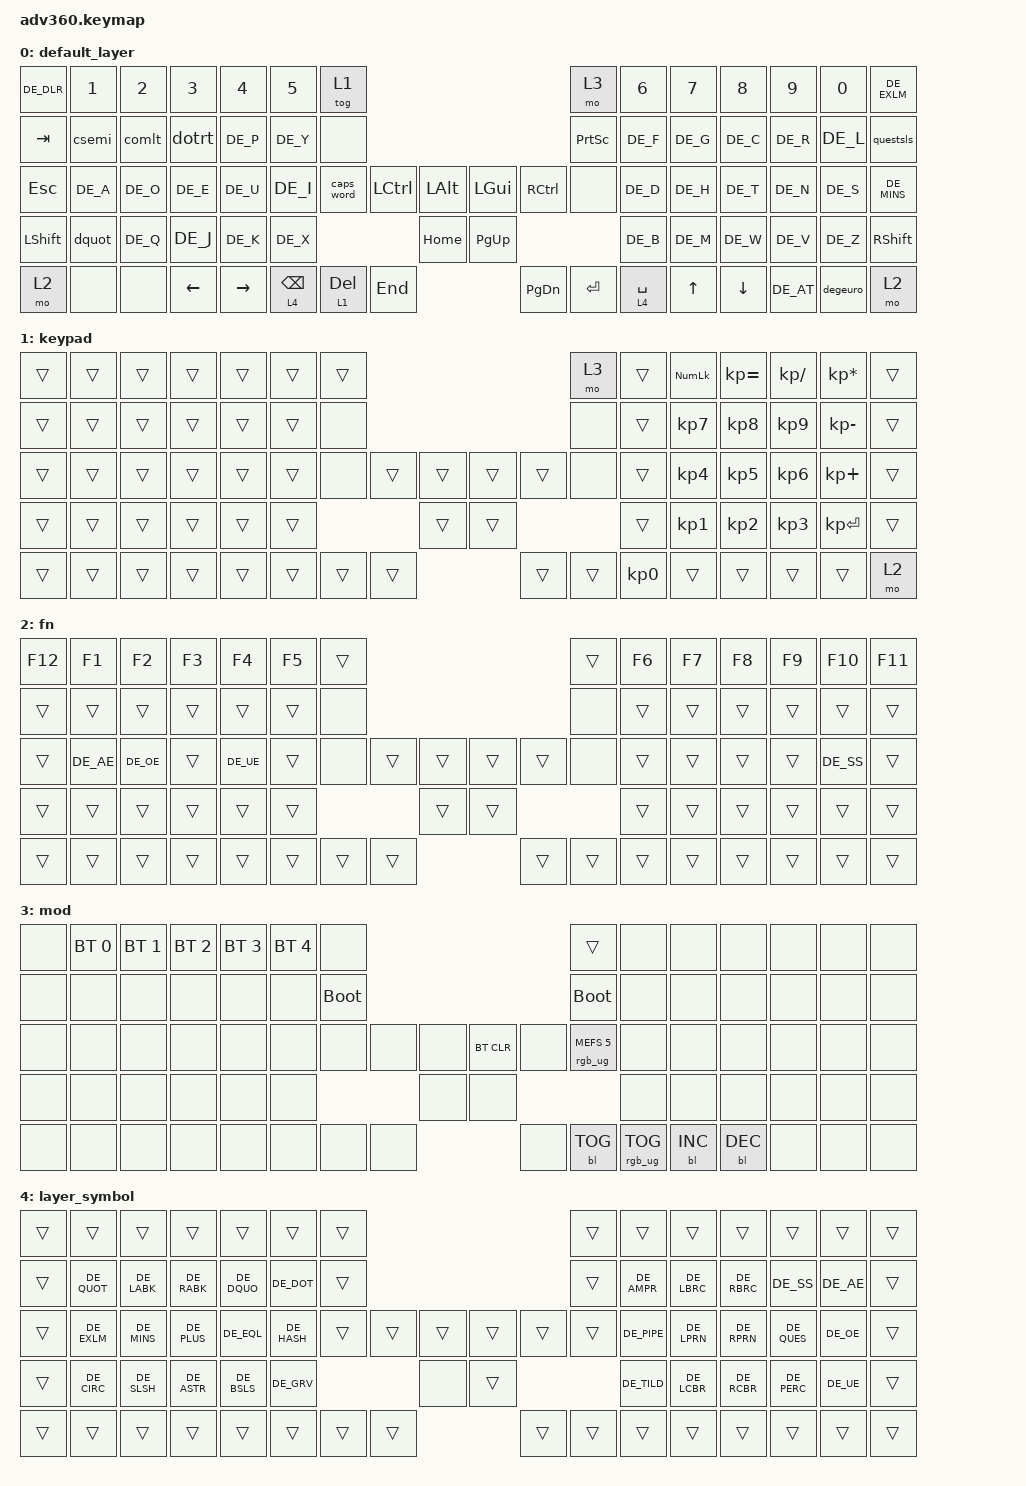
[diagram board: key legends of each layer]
#include <behaviors.dtsi>
#include <dt-bindings/zmk/keys.h>
#include <dt-bindings/zmk/bt.h>
#include <dt-bindings/zmk/rgb.h>
#include <dt-bindings/zmk/backlight.h>
#include "german-keymap.h"

&caps_word {
    continue-list = <UNDERSCORE>;
};
&lt {  // layer-tap config
    flavor = "balanced";
    tapping-term-ms = <200>;
    quick-tap-ms = <175>;
};

/ {
    behaviors {
 
    csemi: semi_colon {
        compatible = "zmk,behavior-mod-morph";
        label = "semi_colon";
        #binding-cells = <0>;
        bindings = <&kp DE_SCLN>, <&kp DE_COLN>;
        mods = <(MOD_LSFT|MOD_RSFT)>;
    };
    comlt: comma_lessthan {
        compatible = "zmk,behavior-mod-morph";
        label = "comma_lessthan";
        #binding-cells = <0>;
        bindings = <&kp DE_COMM>, <&kp DE_LABK>;
        mods = <(MOD_LSFT|MOD_RSFT)>;
    };
    dquot: quot_dquot {
        compatible = "zmk,behavior-mod-morph";
        label = "quot_dquot";
        #binding-cells = <0>;
        bindings = <&kp DE_QUOT>, <&kp DE_DQUO>;
        mods = <(MOD_LSFT|MOD_RSFT)>;
    };
    dotrt: dot_greaterthan {
        compatible = "zmk,behavior-mod-morph";
        label = "dot_greaterthan";
        #binding-cells = <0>;
        bindings = <&kp DE_DOT>, <&kp DE_RABK>;
        mods = <(MOD_LSFT|MOD_RSFT)>;
    };
    questsls: slash_question {
        compatible = "zmk,behavior-mod-morph";
        label = "slash_question";
        #binding-cells = <0>;
        bindings = <&kp DE_SLSH>, <&kp DE_QUES>;
        mods = <(MOD_LSFT|MOD_RSFT)>;
    };
    degeuro: euro_deg {
        compatible = "zmk,behavior-mod-morph";
        label = "euro_deg";
        #binding-cells = <0>;
        bindings = <&kp DE_EURO>, <&kp DE_DEG>;
        mods = <(MOD_LSFT|MOD_RSFT)>;
    };
};

  keymap {
    compatible = "zmk,keymap";

    default_layer {
      bindings = <
        &kp DE_DLR &kp N1   &kp N2   &kp N3   &kp N4    &kp N5   &tog 1                                                                         &mo 3     &kp N6   &kp N7   &kp N8   &kp N9    &kp N0   &kp DE_EXLM
        &kp TAB    &csemi   &comlt   &dotrt   &kp DE_P  &kp DE_Y &none                                                                          &kp PSCRN &kp DE_F &kp DE_G &kp DE_C &kp DE_R  &kp DE_L &questsls
        &kp ESC    &kp DE_A &kp DE_O &kp DE_E &kp DE_U  &kp DE_I &caps_word        &kp LCTRL &kp LALT &kp LGUI  &kp RCTRL                       &none     &kp DE_D &kp DE_H &kp DE_T &kp DE_N  &kp DE_S &kp DE_MINS
        &kp LSHFT  &dquot   &kp DE_Q &kp DE_J &kp DE_K  &kp DE_X                             &kp HOME &kp PG_UP                                           &kp DE_B &kp DE_M &kp DE_W &kp DE_V  &kp DE_Z &kp RSHFT
        &mo 2      &none    &none    &kp LEFT &kp RIGHT                 &lt 4 BSPC &lt 1 DEL &kp END  &kp PG_DN &kp ENTER &lt 4 SPACE                              &kp UP   &kp DOWN &kp DE_AT &degeuro &mo 2
        >;
    };
    keypad {
      bindings = <
        &trans &trans &trans &trans &trans &trans &trans                                           &mo 3 &trans &kp KP_NUM &kp KP_EQUAL &kp KP_DIVIDE &kp KP_MULTIPLY &trans
        &trans &trans &trans &trans &trans &trans &none                                            &none &trans &kp KP_N7  &kp KP_N8    &kp KP_N9     &kp KP_MINUS    &trans
        &trans &trans &trans &trans &trans &trans &none         &trans &trans &trans &trans        &none &trans &kp KP_N4  &kp KP_N5    &kp KP_N6     &kp KP_PLUS     &trans
        &trans &trans &trans &trans &trans &trans                      &trans &trans                     &trans &kp KP_N1  &kp KP_N2    &kp KP_N3     &kp KP_ENTER    &trans
        &trans &trans &trans &trans &trans               &trans &trans &trans &trans &trans &kp KP_N0           &trans     &trans       &trans        &trans          &mo 2
      >;
    };
    fn {
      bindings = <
        &kp F12 &kp F1    &kp F2    &kp F3 &kp F4    &kp F5 &trans                                           &trans &kp F6 &kp F7 &kp F8 &kp F9  &kp F10   &kp F11
        &trans  &trans    &trans    &trans &trans    &trans &none                                            &none  &trans &trans &trans &trans  &trans    &trans
        &trans  &kp DE_AE &kp DE_OE &trans &kp DE_UE &trans &none         &trans &trans &trans &trans        &none  &trans &trans &trans &trans  &kp DE_SS &trans
        &trans  &trans    &trans    &trans &trans    &trans                      &trans &trans                      &trans &trans &trans &trans  &trans    &trans
        &trans  &trans    &trans    &trans &trans                  &trans &trans &trans &trans &trans &trans               &trans &trans &trans  &trans    &trans
      >;
    };
    mod {
      bindings = <
        &none &bt BT_SEL 0 &bt BT_SEL 1 &bt BT_SEL 2 &bt BT_SEL 3 &bt BT_SEL 4 &none                                                                     &trans                 &none        &none        &none        &none &none &none
        &none &none        &none        &none        &none        &none        &bootloader                                                               &bootloader            &none        &none        &none        &none &none &none
        &none &none        &none        &none        &none        &none        &none                   &none &none &bt BT_CLR &none                      &rgb_ug RGB_MEFS_CMD 5 &none        &none        &none        &none &none &none
        &none &none        &none        &none        &none        &none                                      &none &none                                                        &none        &none        &none        &none &none &none
        &none &none        &none        &none        &none                                       &none &none &none &none      &bl BL_TOG &rgb_ug RGB_TOG                                     &bl BL_INC   &bl BL_DEC   &none &none &none
      >;
    };
    layer_symbol {
      bindings = <
        &trans &trans      &trans      &trans      &trans      &trans      &trans                                           &trans &trans      &trans      &trans      &trans      &trans    &trans
        &trans &kp DE_QUOT &kp DE_LABK &kp DE_RABK &kp DE_DQUO &kp DE_DOT  &trans                                           &trans &kp DE_AMPR &kp DE_LBRC &kp DE_RBRC &kp DE_SS   &kp DE_AE &trans
        &trans &kp DE_EXLM &kp DE_MINS &kp DE_PLUS &kp DE_EQL  &kp DE_HASH &trans        &trans &trans &trans &trans        &trans &kp DE_PIPE &kp DE_LPRN &kp DE_RPRN &kp DE_QUES &kp DE_OE &trans
        &trans &kp DE_CIRC &kp DE_SLSH &kp DE_ASTR &kp DE_BSLS &kp DE_GRV                       &none  &trans                      &kp DE_TILD &kp DE_LCBR &kp DE_RCBR &kp DE_PERC &kp DE_UE &trans
        &trans &trans      &trans      &trans      &trans                         &trans &trans &trans &trans &trans &trans                    &trans      &trans      &trans      &trans    &trans
        >;
    };
  };
};
